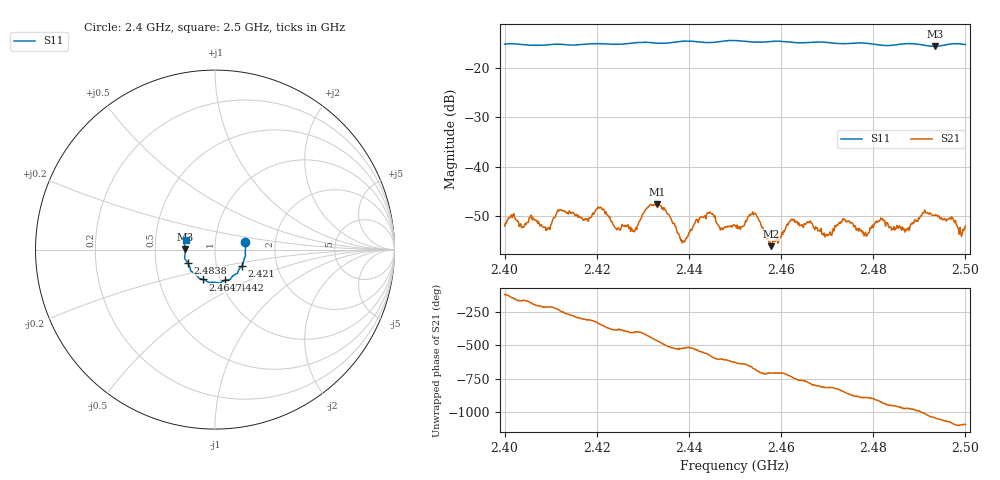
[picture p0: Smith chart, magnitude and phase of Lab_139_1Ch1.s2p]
# Hz S RI R 50
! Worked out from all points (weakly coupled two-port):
!   601 points, 2.4 GHz to 2.5 GHz, reference 50 ohm
!   highest |S21| = -47.56 dB at 2.4332 GHz (marker M1); lowest = -56.1 dB at 2.4578 GHz (marker M2)
!   lowest |S11| = -15.7 dB at 2.4935 GHz (marker M3), VSWR 1.40, Z = 35.8 + j0.203 ohm
!   |S11| at or under -10 dB: start of sweep to end of sweep
!   S12 and S22 are empty: the file has one direction only
!   S11 on the Smith chart (normalised r, x): 2.4 GHz: 1.40, +0.12; 2.421 GHz: 1.33, -0.24; 2.4442 GHz: 1.05, -0.37; 2.4647 GHz: 0.83, -0.28; 2.4838 GHz: 0.73, -0.11; 2.5 GHz: 0.71, +0.08
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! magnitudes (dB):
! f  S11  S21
! 2.4 GHz  -15.2  -52.0
! 2.412 GHz  -15.2  -48.7
! 2.4167 GHz  -15.3  -50.4
! 2.421 GHz  -15.1  -48.4
! 2.4278 GHz  -15.0  -53.1
! 2.4332 GHz  -15.0  -47.6
! 2.4333 GHz  -15.0  -47.8
! 2.4387 GHz  -14.6  -55.0
! 2.4442 GHz  -14.9  -49.3
! 2.45 GHz  -14.5  -52.0
! 2.4542 GHz  -14.8  -49.5
! 2.4578 GHz  -14.7  -56.1
! 2.4623 GHz  -14.8  -50.7
! 2.4647 GHz  -14.9  -52.0
! 2.4667 GHz  -14.8  -51.4
! 2.47 GHz  -14.9  -54.0
! 2.4735 GHz  -15.1  -50.5
! 2.4785 GHz  -15.0  -54.1
! 2.4833 GHz  -15.5  -52.2
! 2.4838 GHz  -15.5  -52.2
! 2.4935 GHz  -15.7  -49.7
! 2.5 GHz  -15.3  -52.0
